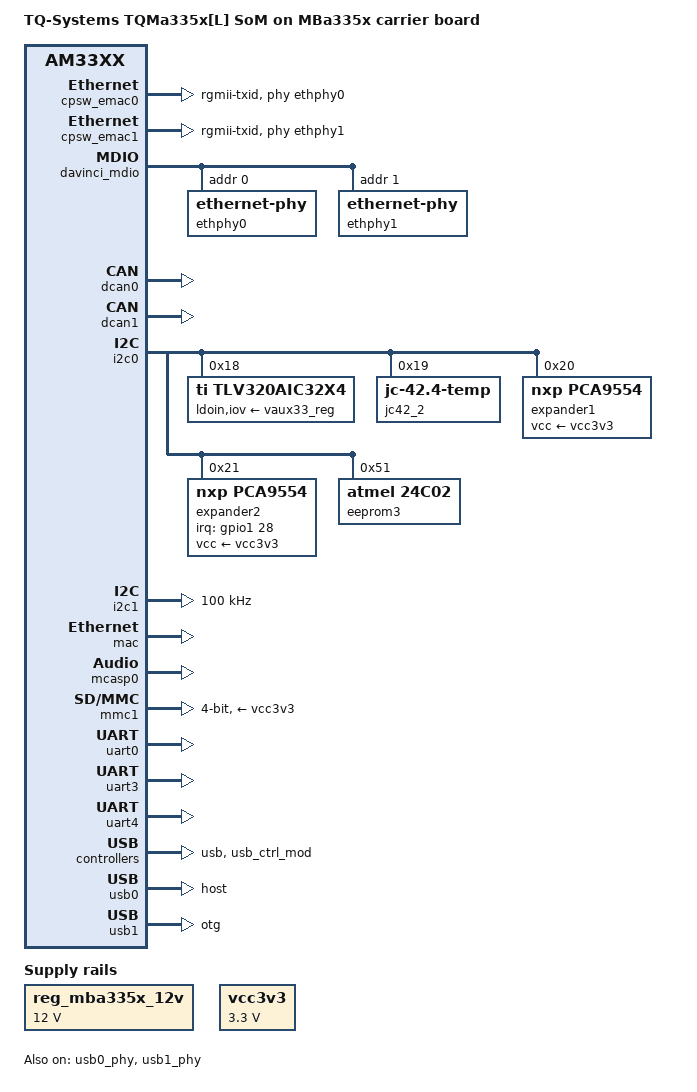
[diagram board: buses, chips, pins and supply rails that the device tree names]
// SPDX-License-Identifier: GPL-2.0-or-later OR MIT
/*
 * Copyright (c) 2021-2023 TQ-Systems GmbH <linux@ew.tq-group.com>,
 * D-82229 Seefeld, Germany.
 * Author: Gregor Herburger
 *
 * Based on:
 * Copyright (C) 2012 Texas Instruments Incorporated - http://www.ti.com/
 *
 */
/dts-v1/;

#include <dt-bindings/interrupt-controller/irq.h>
#include "am335x-tqma335x.dtsi"

/ {
	model = "TQ-Systems TQMa335x[L] SoM on MBa335x carrier board";
	compatible = "tq,tqma3358-mba335x", "tq,tqma3358", "ti,am33xx";

	backlight: backlight {
		compatible = "pwm-backlight";
		power-supply = <&reg_mba335x_12v>;
		enable-gpios = <&expander1 4 GPIO_ACTIVE_HIGH>;
		status = "disabled";
	};

	chosen {
		stdout-path = &uart4;
	};

	sound {
		compatible = "simple-audio-card";
		simple-audio-card,name = "TQ MBa335x";
		simple-audio-card,widgets =
			"Headphone", "Headphone Jack",
			"Line", "Line In",
			"Line", "Line Out",
			"Microphone", "Mic Jack";
		simple-audio-card,routing =
			"Headphone Jack",	"HPL",
			"Headphone Jack",	"HPR",
			"Line Out",		"LOL",
			"Line Out",		"LOR",
			"Mic Jack",		"IN3_L",
			"Line In",		"IN1_L",
			"Line In",		"IN1_R";
		simple-audio-card,format = "i2s";
		simple-audio-card,bitclock-master = <&sound_master>;
		simple-audio-card,frame-master = <&sound_master>;

		simple-audio-card,cpu {
			sound-dai = <&mcasp0>;
			#sound-dai-cells = <0>;
			system-clock-direction-out;
		};

		sound_master: simple-audio-card,codec {
			sound-dai = <&tlv320aic32x4>;
			system-clock-frequency = <24000000>;
			system-clock-direction-out;
		};
	};

	reg_mba335x_12v: regulator-12v {
		compatible = "regulator-fixed";
		regulator-name = "MBa335x-V12";
		regulator-min-microvolt = <12000000>;
		regulator-max-microvolt = <12000000>;
		regulator-always-on;
	};

	vcc3v3: regulator-vcc3v3 {
		compatible = "regulator-fixed";
		regulator-name = "VCC3V3";
		regulator-min-microvolt = <3300000>;
		regulator-max-microvolt = <3300000>;
		regulator-always-on;
	};
};

&am33xx_pinmux {
	ecap2_pins: backlight_pins {
		pinctrl-single,pins = <
			/* mcasp0_ahclkr.ecap2_in_pwm2_out */
			AM33XX_PADCONF(AM335X_PIN_MCASP0_AHCLKR, PIN_OUTPUT, MUX_MODE4)
		>;
	};

	lcd_pins: lcd_pins {
		pinctrl-single,pins = <
			/* gpmc_ad8.lcd_data23 */
			AM33XX_PADCONF(AM335X_PIN_GPMC_AD8, PIN_OUTPUT, MUX_MODE1)
			/* gpmc_ad9.lcd_data22 */
			AM33XX_PADCONF(AM335X_PIN_GPMC_AD9, PIN_OUTPUT, MUX_MODE1)
			/* gpmc_ad10.lcd_data21 */
			AM33XX_PADCONF(AM335X_PIN_GPMC_AD10, PIN_OUTPUT, MUX_MODE1)
			/* gpmc_ad11.lcd_data20 */
			AM33XX_PADCONF(AM335X_PIN_GPMC_AD11, PIN_OUTPUT, MUX_MODE1)
			/* gpmc_ad12.lcd_data19 */
			AM33XX_PADCONF(AM335X_PIN_GPMC_AD12, PIN_OUTPUT, MUX_MODE1)
			/* gpmc_ad13.lcd_data18 */
			AM33XX_PADCONF(AM335X_PIN_GPMC_AD13, PIN_OUTPUT, MUX_MODE1)
			/* gpmc_ad14.lcd_data17 */
			AM33XX_PADCONF(AM335X_PIN_GPMC_AD14, PIN_OUTPUT, MUX_MODE1)
			/* gpmc_ad15.lcd_data16 */
			AM33XX_PADCONF(AM335X_PIN_GPMC_AD15, PIN_OUTPUT, MUX_MODE1)
			/* lcd_data0.lcd_data0 */
			AM33XX_PADCONF(AM335X_PIN_LCD_DATA0, PIN_OUTPUT, MUX_MODE0)
			/* lcd_data1.lcd_data1 */
			AM33XX_PADCONF(AM335X_PIN_LCD_DATA1, PIN_OUTPUT, MUX_MODE0)
			/* lcd_data2.lcd_data2 */
			AM33XX_PADCONF(AM335X_PIN_LCD_DATA2, PIN_OUTPUT, MUX_MODE0)
			/* lcd_data3.lcd_data3 */
			AM33XX_PADCONF(AM335X_PIN_LCD_DATA3, PIN_OUTPUT, MUX_MODE0)
			/* lcd_data4.lcd_data4 */
			AM33XX_PADCONF(AM335X_PIN_LCD_DATA4, PIN_OUTPUT, MUX_MODE0)
			/* lcd_data5.lcd_data5 */
			AM33XX_PADCONF(AM335X_PIN_LCD_DATA5, PIN_OUTPUT, MUX_MODE0)
			/* lcd_data6.lcd_data6 */
			AM33XX_PADCONF(AM335X_PIN_LCD_DATA6, PIN_OUTPUT, MUX_MODE0)
			/* lcd_data7.lcd_data7 */
			AM33XX_PADCONF(AM335X_PIN_LCD_DATA7, PIN_OUTPUT, MUX_MODE0)
			/* lcd_data8.lcd_data8 */
			AM33XX_PADCONF(AM335X_PIN_LCD_DATA8, PIN_OUTPUT, MUX_MODE0)
			/* lcd_data9.lcd_data9 */
			AM33XX_PADCONF(AM335X_PIN_LCD_DATA9, PIN_OUTPUT, MUX_MODE0)
			/* lcd_data10.lcd_data10 */
			AM33XX_PADCONF(AM335X_PIN_LCD_DATA10, PIN_OUTPUT, MUX_MODE0)
			/* lcd_data11.lcd_data11 */
			AM33XX_PADCONF(AM335X_PIN_LCD_DATA11, PIN_OUTPUT, MUX_MODE0)
			/* lcd_data12.lcd_data12 */
			AM33XX_PADCONF(AM335X_PIN_LCD_DATA12, PIN_OUTPUT, MUX_MODE0)
			/* lcd_data13.lcd_data13 */
			AM33XX_PADCONF(AM335X_PIN_LCD_DATA13, PIN_OUTPUT, MUX_MODE0)
			/* lcd_data14.lcd_data14 */
			AM33XX_PADCONF(AM335X_PIN_LCD_DATA14, PIN_OUTPUT, MUX_MODE0)
			/* lcd_data15.lcd_data15 */
			AM33XX_PADCONF(AM335X_PIN_LCD_DATA15, PIN_OUTPUT, MUX_MODE0)
			/* lcd_vsync.lcd_vsync */
			AM33XX_PADCONF(AM335X_PIN_LCD_VSYNC, PIN_OUTPUT, MUX_MODE0)
			/* lcd_hsync.lcd_hsync */
			AM33XX_PADCONF(AM335X_PIN_LCD_HSYNC, PIN_OUTPUT, MUX_MODE0)
			/* lcd_pclk.lcd_pclk */
			AM33XX_PADCONF(AM335X_PIN_LCD_PCLK, PIN_OUTPUT, MUX_MODE0)
			/* lcd_ac_bias_en.lcd_ac_bias_en */
			AM33XX_PADCONF(AM335X_PIN_LCD_AC_BIAS_EN, PIN_OUTPUT, MUX_MODE0)
		>;
	};

	i2c1_pins: i2c1_pins {
		pinctrl-single,pins = <
			/* uart1_rxd.i2c1_sda */
			AM33XX_PADCONF(AM335X_PIN_UART1_RXD, PIN_INPUT_PULLUP, MUX_MODE3)
			/* uart1_txd.i2c1_scl */
			AM33XX_PADCONF(AM335X_PIN_UART1_TXD, PIN_INPUT_PULLUP, MUX_MODE3)
		>;
	};

	polytouch_pins: pinmux_polytouch_pins {
		pinctrl-single,pins = <
			/* gpmc_clk.gpio2_1 - touch interrupt */
			AM33XX_PADCONF(AM335X_PIN_GPMC_CLK, PIN_INPUT_PULLUP, MUX_MODE7)
		>;
	};

	codec_pins: codec_pins {
		pinctrl-single,pins = <
			/* xdma_event_intr0.clkout1 */
			AM33XX_PADCONF(AM335X_PIN_XDMA_EVENT_INTR0, PIN_OUTPUT, MUX_MODE3)
		>;
	};

	cpsw_default: cpsw_default {
		pinctrl-single,pins = <
			/* Slave 1 */
			/* mii1_tx_en.rgmii1_tctl */
			AM33XX_PADCONF(AM335X_PIN_MII1_TX_EN, PIN_OUTPUT_PULLDOWN, MUX_MODE2)
			/* mii1_rx_dv.rgmii1_rctl */
			AM33XX_PADCONF(AM335X_PIN_MII1_RX_DV, PIN_INPUT_PULLDOWN, MUX_MODE2)
			/* mii1_txd3.rgmii1_td3 */
			AM33XX_PADCONF(AM335X_PIN_MII1_TXD3, PIN_OUTPUT_PULLDOWN, MUX_MODE2)
			/* mii1_txd2.rgmii1_td2 */
			AM33XX_PADCONF(AM335X_PIN_MII1_TXD2, PIN_OUTPUT_PULLDOWN, MUX_MODE2)
			/* mii1_txd1.rgmii1_td1 */
			AM33XX_PADCONF(AM335X_PIN_MII1_TXD1, PIN_OUTPUT_PULLDOWN, MUX_MODE2)
			/* mii1_txd0.rgmii1_td0 */
			AM33XX_PADCONF(AM335X_PIN_MII1_TXD0, PIN_OUTPUT_PULLDOWN, MUX_MODE2)
			/* mii1_tx_clk.rgmii1_tclk */
			AM33XX_PADCONF(AM335X_PIN_MII1_TX_CLK, PIN_OUTPUT_PULLDOWN, MUX_MODE2)
			/* mii1_rx_clk.rgmii1_rclk */
			AM33XX_PADCONF(AM335X_PIN_MII1_RX_CLK, PIN_INPUT_PULLDOWN, MUX_MODE2)
			/* mii1_rxd3.rgmii1_rd3 */
			AM33XX_PADCONF(AM335X_PIN_MII1_RXD3, PIN_INPUT_PULLDOWN, MUX_MODE2)
			/* mii1_rxd2.rgmii1_rd2 */
			AM33XX_PADCONF(AM335X_PIN_MII1_RXD2, PIN_INPUT_PULLDOWN, MUX_MODE2)
			/* mii1_rxd1.rgmii1_rd1 */
			AM33XX_PADCONF(AM335X_PIN_MII1_RXD1, PIN_INPUT_PULLDOWN, MUX_MODE2)
			/* mii1_rxd0.rgmii1_rd0 */
			AM33XX_PADCONF(AM335X_PIN_MII1_RXD0, PIN_INPUT_PULLDOWN, MUX_MODE2)
			/* usb0_drvvbus.gpio0_18 - phy interrupt */
			AM33XX_PADCONF(AM335X_PIN_USB0_DRVVBUS, PIN_INPUT, MUX_MODE7)

			/* Slave 2 */
			/* gpmc_a0.rgmii2_tctl */
			AM33XX_PADCONF(AM335X_PIN_GPMC_A0, PIN_OUTPUT_PULLDOWN, MUX_MODE2)
			/* gpmc_a1.rgmii2_rctl */
			AM33XX_PADCONF(AM335X_PIN_GPMC_A1, PIN_INPUT_PULLDOWN, MUX_MODE2)
			/* gpmc_a2.rgmii2_td3 */
			AM33XX_PADCONF(AM335X_PIN_GPMC_A2, PIN_OUTPUT_PULLDOWN, MUX_MODE2)
			/* gpmc_a3.rgmii2_td2 */
			AM33XX_PADCONF(AM335X_PIN_GPMC_A3, PIN_OUTPUT_PULLDOWN, MUX_MODE2)
			/* gpmc_a4.rgmii2_td1 */
			AM33XX_PADCONF(AM335X_PIN_GPMC_A4, PIN_OUTPUT_PULLDOWN, MUX_MODE2)
			/* gpmc_a5.rgmii2_td0 */
			AM33XX_PADCONF(AM335X_PIN_GPMC_A5, PIN_OUTPUT_PULLDOWN, MUX_MODE2)
			/* gpmc_a6.rgmii2_tclk */
			AM33XX_PADCONF(AM335X_PIN_GPMC_A6, PIN_OUTPUT_PULLDOWN, MUX_MODE2)
			/* gpmc_a7.rgmii2_rclk */
			AM33XX_PADCONF(AM335X_PIN_GPMC_A7, PIN_INPUT_PULLDOWN, MUX_MODE2)
			/* gpmc_a8.rgmii2_rd3 */
			AM33XX_PADCONF(AM335X_PIN_GPMC_A8, PIN_INPUT_PULLDOWN, MUX_MODE2)
			/* gpmc_a9.rgmii2_rd2 */
			AM33XX_PADCONF(AM335X_PIN_GPMC_A9, PIN_INPUT_PULLDOWN, MUX_MODE2)
			/* gpmc_a10.rgmii2_rd1 */
			AM33XX_PADCONF(AM335X_PIN_GPMC_A10, PIN_INPUT_PULLDOWN, MUX_MODE2)
			/* gpmc_a11.rgmii2_rd0 */
			AM33XX_PADCONF(AM335X_PIN_GPMC_A11, PIN_INPUT_PULLDOWN, MUX_MODE2)
			/* gpmc_csn0.gpio1_29 - phy interrupt */
			AM33XX_PADCONF(AM335X_PIN_GPMC_CSN0, PIN_INPUT, MUX_MODE7)
		>;
	};

	davinci_mdio_default: davinci_mdio_default {
		pinctrl-single,pins = <
			/* mdio.mdio_data */
			AM33XX_PADCONF(AM335X_PIN_MDIO, PIN_INPUT_PULLUP | SLEWCTRL_FAST, MUX_MODE0)
			/* mdc.mdio_clk */
			AM33XX_PADCONF(AM335X_PIN_MDC, PIN_OUTPUT_PULLUP, MUX_MODE0)
		>;
	};

	dcan0_default: dcan0_default_pins {
		pinctrl-single,pins = <
			/* uart1_ctsn.d_can0_tx */
			AM33XX_PADCONF(AM335X_PIN_UART1_CTSN, PIN_OUTPUT_PULLDOWN, MUX_MODE2)
			/* uart1_rtsn.d_can0_rx */
			AM33XX_PADCONF(AM335X_PIN_UART1_RTSN, PIN_INPUT_PULLUP, MUX_MODE2)
		>;
	};

	dcan1_default: dcan1_default_pins {
		pinctrl-single,pins = <
			/* uart0_ctsn.d_can1_tx */
			AM33XX_PADCONF(AM335X_PIN_UART0_CTSN, PIN_OUTPUT_PULLDOWN, MUX_MODE2)
			/* uart0_rtsn.d_can1_rx */
			AM33XX_PADCONF(AM335X_PIN_UART0_RTSN, PIN_INPUT_PULLUP, MUX_MODE2)
		>;
	};

	expander1_pins: pinmux_expander1_pins {
		pinctrl-single,pins = <
			/* /* gpmc_csn3.gpio2_0 - interrupt */
			AM33XX_PADCONF(AM335X_PIN_GPMC_CSN3, PIN_INPUT_PULLUP, MUX_MODE7 )
		>;
	};

	expander2_pins: pinmux_expander2_pins {
		pinctrl-single,pins = <
			/* /* gpmc_ben1.gpio1_28 - interrupt */
			AM33XX_PADCONF(AM335X_PIN_GPMC_BEN1, PIN_INPUT_PULLUP, MUX_MODE7)
		>;
	};

	mcasp0_pins: mcasp0_pins {
		pinctrl-single,pins = <
			/* mcasp0_fsx.mcasp0_fsx */
			AM33XX_PADCONF(AM335X_PIN_MCASP0_FSX, PIN_INPUT_PULLDOWN, MUX_MODE0)
			/* mcasp0_aclkx.mcasp0_aclkx*/
			AM33XX_PADCONF(AM335X_PIN_MCASP0_ACLKX, PIN_INPUT_PULLDOWN, MUX_MODE0)
			/* mcasp0_axr0.mcasp0_axr0 */
			AM33XX_PADCONF(AM335X_PIN_MCASP0_AXR0, PIN_INPUT_PULLDOWN, MUX_MODE0)
			/* mcasp0_axr1.mcasp0_axr1 */
			AM33XX_PADCONF(AM335X_PIN_MCASP0_AXR1, PIN_INPUT_PULLDOWN, MUX_MODE0)
			/* mcasp0_aclkr.mcasp0_aclkr */
			AM33XX_PADCONF(AM335X_PIN_MCASP0_ACLKR, PIN_INPUT_PULLDOWN, MUX_MODE0)
			/* mcasp0_fsr.mcasp0_fsr */
			AM33XX_PADCONF(AM335X_PIN_MCASP0_FSR, PIN_INPUT_PULLDOWN, MUX_MODE0)
		>;
	};

	mmc1_pins: mmc1_pins {
		pinctrl-single,pins = <
			/* mmc0_dat3.mmc0_dat3 */
			AM33XX_PADCONF(AM335X_PIN_MMC0_DAT3, PIN_INPUT_PULLUP, MUX_MODE0)
			/* mmc0_dat2.mmc0_dat2 */
			AM33XX_PADCONF(AM335X_PIN_MMC0_DAT2, PIN_INPUT_PULLUP, MUX_MODE0)
			/* mmc0_dat1.mmc0_dat1 */
			AM33XX_PADCONF(AM335X_PIN_MMC0_DAT1, PIN_INPUT_PULLUP, MUX_MODE0)
			/* mmc0_dat0.mmc0_dat0 */
			AM33XX_PADCONF(AM335X_PIN_MMC0_DAT0, PIN_INPUT_PULLUP, MUX_MODE0)
			/* mmc0_clk.mmc0_clk */
			AM33XX_PADCONF(AM335X_PIN_MMC0_CLK, PIN_INPUT_PULLUP, MUX_MODE0)
			/* mmc0_cmd.mmc0_cmd */
			AM33XX_PADCONF(AM335X_PIN_MMC0_CMD, PIN_INPUT_PULLUP, MUX_MODE0)
		>;
	};

	uart0_pins: pinmux_uart0_pins {
		pinctrl-single,pins = <
			/* uart0_rxd.uart0_rxd */
			AM33XX_PADCONF(AM335X_PIN_UART0_RXD, PIN_INPUT_PULLUP, MUX_MODE0)
			/* uart0_txd.uart0_txd */
			AM33XX_PADCONF(AM335X_PIN_UART0_TXD, PIN_OUTPUT_PULLDOWN, MUX_MODE0)
		>;
	};

	uart3_pins: pinmux_uart3_pins {
		pinctrl-single,pins = <
			/* spi0_cs1.uart3_rxd */
			AM33XX_PADCONF(AM335X_PIN_SPI0_CS1, PIN_INPUT_PULLUP, MUX_MODE1)
			/* ecap0_in_pwm0_out.uart3_txd */
			AM33XX_PADCONF(AM335X_PIN_ECAP0_IN_PWM0_OUT, PIN_OUTPUT_PULLDOWN, MUX_MODE1)
		>;
	};

	uart4_pins: pinmux_uart4_pins {
		pinctrl-single,pins = <
			/* gpmc_wait0.uart4_rxd */
			AM33XX_PADCONF(AM335X_PIN_GPMC_WAIT0, PIN_INPUT_PULLUP, MUX_MODE6)
			/* gpmc_wpn.uart4_txd */
			AM33XX_PADCONF(AM335X_PIN_GPMC_WPN, PIN_OUTPUT_PULLDOWN, MUX_MODE6)
		>;
	};
};

&cppi41dma {
	status = "okay";
};

&cpsw_emac0 {
	phy-handle = <&ethphy0>;
	phy-mode = "rgmii-txid";

	interrupt-parent = <&gpio0>;
	interrupts = <18 0>;
};

&cpsw_emac1 {
	phy-handle = <&ethphy1>;
	phy-mode = "rgmii-txid";

	interrupt-parent = <&gpio1>;
	interrupts = <29 0>;
};

&davinci_mdio {
	pinctrl-names = "default";
	pinctrl-0 = <&davinci_mdio_default>;
	status = "okay";

	ethphy0: ethernet-phy@0 {
		reg = <0>;

		rxdv-skew-ps = <0>;
		txen-skew-ps = <0>;
		rxd0-skew-ps = <0>;
		rxd1-skew-ps = <0>;
		rxd2-skew-ps = <0>;
		rxd3-skew-ps = <0>;
		txd0-skew-ps = <0>;
		txd1-skew-ps = <0>;
		txd2-skew-ps = <0>;
		txd3-skew-ps = <0>;
		rxc-skew-ps = <1860>;
		txc-skew-ps = <1860>;
	};

	ethphy1: ethernet-phy@1 {
		reg = <1>;

		rxdv-skew-ps = <0>;
		txen-skew-ps = <0>;
		rxd0-skew-ps = <0>;
		rxd1-skew-ps = <0>;
		rxd2-skew-ps = <0>;
		rxd3-skew-ps = <0>;
		txd0-skew-ps = <0>;
		txd1-skew-ps = <0>;
		txd2-skew-ps = <0>;
		txd3-skew-ps = <0>;
		rxc-skew-ps = <1860>;
		txc-skew-ps = <1860>;
	};
};

&dcan0 {
	pinctrl-names = "default";
	pinctrl-0 = <&dcan0_default>;
	status = "okay";
};

&dcan1 {
	pinctrl-names = "default";
	pinctrl-0 = <&dcan1_default>;
	status = "okay";
};

&ds1339 {
	interrupt-parent = <&expander2>;
	interrupts = <3 IRQ_TYPE_EDGE_RISING>;
};

&ecap2 {
	pinctrl-names = "default";
	pinctrl-0 = <&ecap2_pins>;
};

&gpio2 {
	pinctrl-names = "default";
	pinctrl-0 = <&expander1_pins>;
};

&i2c0 {
	tlv320aic32x4: audio-codec@18 {
		compatible = "ti,tlv320aic32x4";
		reg = <0x18>;
		pinctrl-names = "default";
		pinctrl-0 = <&codec_pins>;
		clocks = <&clk_24mhz>;
		clock-names = "mclk";
		#sound-dai-cells = <0>;
		ldo-enable = "on";
		ldoin-supply = <&vaux33_reg>;
		iov-supply = <&vaux33_reg>;
	};

	jc42_2: temperature-sensor@19 {
		compatible = "jedec,jc-42.4-temp";
		reg = <0x19>;
	};

	expander1: gpio@20 {
		compatible = "nxp,pca9554";
		reg = <0x20>;
		vcc-supply = <&vcc3v3>;
		gpio-controller;
		#gpio-cells = <2>;
	};

	expander2: gpio@21 {
		compatible = "nxp,pca9554";
		reg = <0x21>;
		pinctrl-names = "default";
		pinctrl-0 = <&expander2_pins>;
		vcc-supply = <&vcc3v3>;
		gpio-controller;
		#gpio-cells = <2>;
		interrupt-controller;
		#interrupt-cells = <2>;
		interrupt-parent = <&gpio1>;
		interrupts = <28 IRQ_TYPE_EDGE_FALLING>;
	};

	eeprom3: eeprom@51 {
		compatible = "atmel,24c02";
		pagesize = <16>;
		reg = <0x51>;
	};
};

&i2c1 {
	pinctrl-names = "default";
	pinctrl-0 = <&i2c1_pins>;
	clock-frequency = <100000>;
};

&lcdc {
	pinctrl-names = "default";
	pinctrl-0 = <&lcd_pins>;
	blue-and-red-wiring = "crossed";
};

&mac {
	pinctrl-names = "default";
	pinctrl-0 = <&cpsw_default>;
	dual_emac;
	status = "okay";
};

&mcasp0 {
	pinctrl-names = "default";
	pinctrl-0 = <&mcasp0_pins>;
	#sound-dai-cells = <0>;
	op-mode = <0>;
	tdm-slots = <2>;
	/* 16 serializer */
	serial-dir = <  /* 0: INACTIVE, 1: TX, 2: RX */
		2 1 0 0
		0 0 0 0
		0 0 0 0
		0 0 0 0
	>;
	tx-num-evt = <32>;
	rx-num-evt = <32>;
	status = "okay";
};

&mmc1 {
	pinctrl-names = "default";
	pinctrl-0 = <&mmc1_pins>;
	vmmc-supply = <&vcc3v3>;
	bus-width = <4>;
	no-1-8-v;
	no-mmc;
	no-sdio;
	status = "okay";
};

&tps {
	interrupt-parent = <&expander2>;
	interrupts = <4 IRQ_TYPE_EDGE_RISING>;
};

&uart0 {
	pinctrl-names = "default";
	pinctrl-0 = <&uart0_pins>;
	status = "okay";
};

&uart3 {
	pinctrl-names = "default";
	pinctrl-0 = <&uart3_pins>;
	status = "okay";
};

&uart4 {
	pinctrl-names = "default";
	pinctrl-0 = <&uart4_pins>;
	status = "okay";
};

&usb {
	status = "okay";
};

&usb_ctrl_mod {
	status = "okay";
};

&usb0_phy {
	status = "okay";
};

&usb0 {
	dr_mode = "host";
	status = "okay";
};

&usb1_phy {
	status = "okay";
};

&usb1 {
	dr_mode = "otg";
	status = "okay";
};

/* SOM supply */
&vcc3v3in {
	vin-supply = <&vcc3v3>;
};
